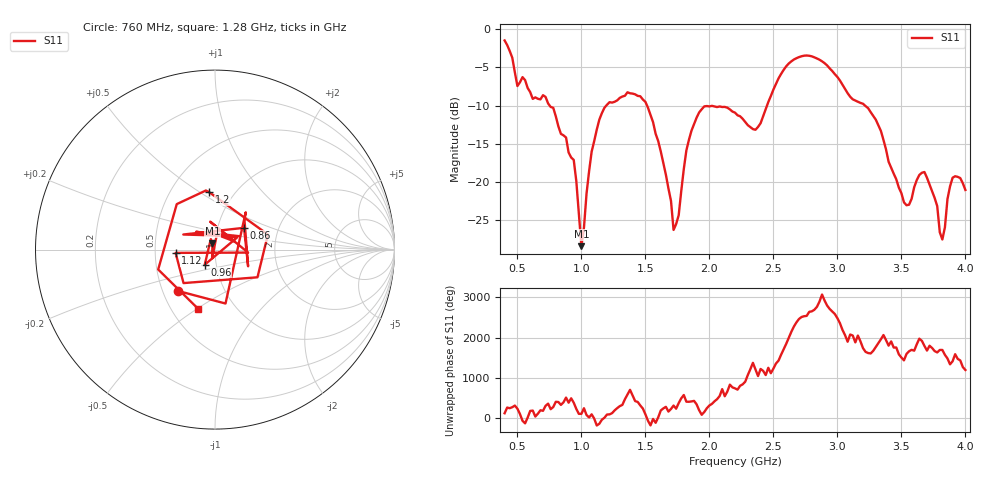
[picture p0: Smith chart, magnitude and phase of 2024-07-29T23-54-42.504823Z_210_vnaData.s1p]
!Created with skrf (http://scikit-rf.org).
# Hz S RI R 50.0
!freq ReS11 ImS11
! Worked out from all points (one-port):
!   181 points, 400 MHz to 4 GHz, reference 50 ohm
!   lowest |S11| = -28.4 dB at 1 GHz (marker M1), VSWR 1.08, Z = 48.5 + j3.42 ohm
!   |S11| at or under -10 dB: 752.5 MHz to 1.194 GHz (441.5 MHz wide, 45.4 % of centre); 1.513 GHz to 2.45 GHz (937.2 MHz wide, 47.3 % of centre); 3.216 GHz to end of sweep
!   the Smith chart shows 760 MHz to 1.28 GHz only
!   S11 on the Smith chart (normalised r, x): 760 MHz: 0.60, -0.30; 860 MHz: 1.34, +0.34; 960 MHz: 0.88, -0.15; 1.12 GHz: 0.64, -0.02; 1.2 GHz: 0.77, +0.55; 1.28 GHz: 0.68, -0.50
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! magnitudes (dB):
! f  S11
! 400 MHz  -1.5
! 500 MHz  -7.4
! 760 MHz  -10.2
! 860 MHz  -13.9
! 960 MHz  -19.8
! 1 GHz  -28.4
! 1.08 GHz  -16.0
! 1.12 GHz  -13.1
! 1.2 GHz  -9.9
! 1.28 GHz  -9.3
! 1.3 GHz  -9.0
! 1.5 GHz  -9.5
! 1.66 GHz  -19.0
! 1.72 GHz  -26.3
! 1.76 GHz  -24.4
! 1.82 GHz  -15.9
! 1.92 GHz  -10.9
! 2.2 GHz  -10.9
! 2.36 GHz  -13.2
! 2.66 GHz  -4.0
! 2.88 GHz  -4.2
! 3.1 GHz  -8.8
! 3.3 GHz  -11.8
! 3.56 GHz  -23.0
! 3.68 GHz  -18.7
! 3.82 GHz  -27.5
! 3.9 GHz  -19.4
! 4 GHz  -21.0
